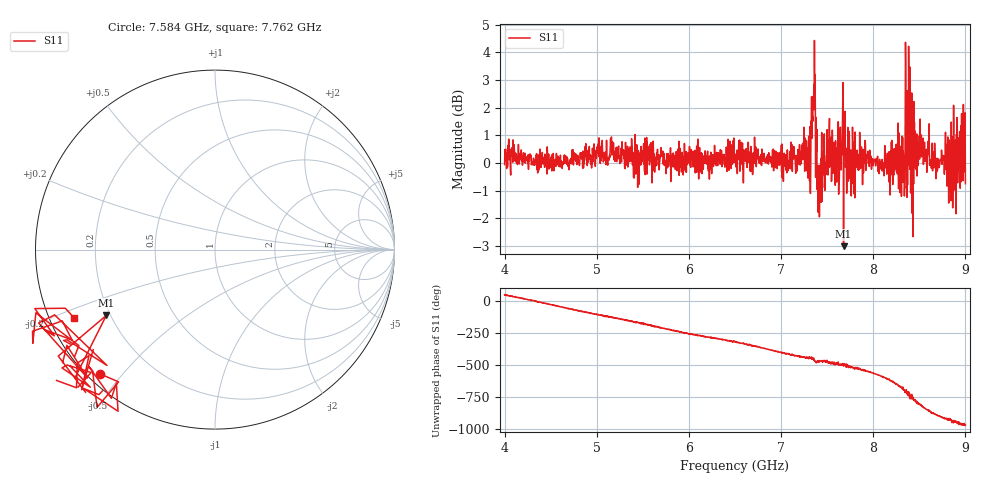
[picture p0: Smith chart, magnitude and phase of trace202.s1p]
! Created with skrf 1.8.0 (http://scikit-rf.org).
# Hz S RI R 50.0
!freq ReS11 ImS11
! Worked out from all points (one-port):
!   1601 points, 4 GHz to 9 GHz, reference 50 ohm
!   lowest |S11| = -3.0 dB at 7.678 GHz (marker M1), VSWR 5.85, Z = 9.2 - j13.5 ohm
!   |S11| at or under -10 dB: nowhere
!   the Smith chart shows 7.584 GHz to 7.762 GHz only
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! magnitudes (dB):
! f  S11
! 4 GHz  -0.1
! 4.625 GHz  -0.2
! 5.25 GHz  0.0
! 5.875 GHz  0.0
! 6.5 GHz  0.3
! 7.125 GHz  0.4
! 7.25 GHz  0.2
! 7.297 GHz  0.5
! 7.347 GHz  2.4
! 7.372 GHz  1.9
! 7.4 GHz  -1.8
! 7.425 GHz  -1.2
! 7.519 GHz  -0.2
! 7.609 GHz  0.5
! 7.678 GHz  -3.0
! 7.75 GHz  0.4
! 8.169 GHz  -0.7
! 8.253 GHz  -0.3
! 8.316 GHz  0.2
! 8.334 GHz  -0.4
! 8.356 GHz  1.2
! 8.375 GHz  1.0
! 8.447 GHz  1.5
! 8.459 GHz  -0.2
! 8.516 GHz  0.7
! 8.844 GHz  -1.4
! 8.972 GHz  0.5
! 9 GHz  -0.7
